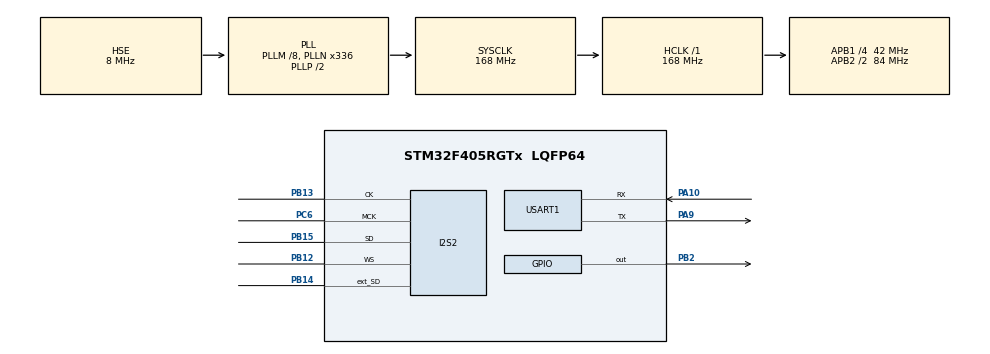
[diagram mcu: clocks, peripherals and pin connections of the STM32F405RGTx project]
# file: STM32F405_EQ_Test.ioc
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Dma.I2S2_EXT_RX.0.Direction=DMA_PERIPH_TO_MEMORY
Dma.I2S2_EXT_RX.0.FIFOMode=DMA_FIFOMODE_DISABLE
Dma.I2S2_EXT_RX.0.Instance=DMA1_Stream3
Dma.I2S2_EXT_RX.0.MemDataAlignment=DMA_MDATAALIGN_HALFWORD
Dma.I2S2_EXT_RX.0.MemInc=DMA_MINC_ENABLE
Dma.I2S2_EXT_RX.0.Mode=DMA_CIRCULAR
Dma.I2S2_EXT_RX.0.PeriphDataAlignment=DMA_PDATAALIGN_HALFWORD
Dma.I2S2_EXT_RX.0.PeriphInc=DMA_PINC_DISABLE
Dma.I2S2_EXT_RX.0.Priority=DMA_PRIORITY_HIGH
Dma.Request0=I2S2_EXT_RX
Dma.Request1=SPI2_TX
Dma.SPI2_TX.1.Direction=DMA_MEMORY_TO_PERIPH
Dma.SPI2_TX.1.FIFOMode=DMA_FIFOMODE_DISABLE
Dma.SPI2_TX.1.Instance=DMA1_Stream4
Dma.SPI2_TX.1.MemDataAlignment=DMA_MDATAALIGN_HALFWORD
Dma.SPI2_TX.1.MemInc=DMA_MINC_ENABLE
Dma.SPI2_TX.1.Mode=DMA_CIRCULAR
Dma.SPI2_TX.1.PeriphDataAlignment=DMA_PDATAALIGN_HALFWORD
Dma.SPI2_TX.1.PeriphInc=DMA_PINC_DISABLE
Dma.SPI2_TX.1.Priority=DMA_PRIORITY_HIGH
I2S2.AudioFreq=I2S_AUDIOFREQ_96K
I2S2.DataFormat=I2S_DATAFORMAT_24B
I2S2.ErrorAudioFreq=-2.34 %
I2S2.FullDuplexMode=I2S_FULLDUPLEXMODE_ENABLE
I2S2.Instance=SPI$Index
I2S2.RealAudioFreq=93.75 KHz
I2S2.VirtualMode=I2S_MODE_MASTER
Mcu.Family=STM32F4
Mcu.Name=STM32F405RGTx
Mcu.Package=LQFP64
NVIC.DMA1_Stream3_IRQn=true\:0\:0\:false\:false\:true\:false\:true\:true
NVIC.DMA1_Stream4_IRQn=true\:0\:0\:false\:false\:true\:false\:true\:true
NVIC.PriorityGroup=NVIC_PRIORITYGROUP_4
NVIC.USART1_IRQn=true\:0\:0\:false\:false\:true\:true\:true\:true
PA10.Mode=Asynchronous
PA10.Signal=USART1_RX
PA13.Mode=Serial_Wire
PA13.Signal=SYS_JTMS-SWDIO
PA14.Mode=Serial_Wire
PA14.Signal=SYS_JTCK-SWCLK
PA9.Mode=Asynchronous
PA9.Signal=USART1_TX
PB12.Mode=Full_Duplex_Master
PB12.Signal=I2S2_WS
PB13.Mode=Full_Duplex_Master
PB13.Signal=I2S2_CK
PB14.Mode=Full_Duplex_Master
PB14.Signal=I2S2_ext_SD
PB15.Mode=Full_Duplex_Master
PB15.Signal=I2S2_SD
PB2.Signal=GPIO_Output
PC6.Mode=Master_Clock_Activated
PC6.Signal=I2S2_MCK
PH0-OSC_IN.Mode=HSE-External-Oscillator
PH0-OSC_IN.Signal=RCC_OSC_IN
PH1-OSC_OUT.Mode=HSE-External-Oscillator
PH1-OSC_OUT.Signal=RCC_OSC_OUT
ProjectManager.HeapSize=0x200
ProjectManager.StackSize=0x400
ProjectManager.TargetToolchain=STM32CubeIDE
RCC.48MHZClocksFreq_Value=84000000
RCC.AHBFreq_Value=168000000
RCC.APB1CLKDivider=RCC_HCLK_DIV4
RCC.APB1Freq_Value=42000000
RCC.APB1TimFreq_Value=84000000
RCC.APB2CLKDivider=RCC_HCLK_DIV2
RCC.APB2Freq_Value=84000000
RCC.APB2TimFreq_Value=168000000
RCC.CortexFreq_Value=168000000
RCC.HCLKFreq_Value=168000000
RCC.HSE_VALUE=8000000
RCC.HSI_VALUE=16000000
RCC.LSE_VALUE=32768
RCC.PLLM=8
RCC.PLLN=336
RCC.PLLSourceVirtual=RCC_PLLSOURCE_HSE
RCC.SYSCLKFreq_VALUE=168000000
RCC.SYSCLKSource=RCC_SYSCLKSOURCE_PLLCLK
RCC.VCOOutputFreq_Value=336000000
USART1.VirtualMode=VM_ASYNC
board=custom

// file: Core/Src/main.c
/* USER CODE BEGIN Header */
/**
  ******************************************************************************
  * @file           : main.c
  * @brief          : Main program body
  ******************************************************************************
  * @attention
  *
  * Copyright (c) 2024 STMicroelectronics.
  * All rights reserved.
  *
  * This software is licensed under terms that can be found in the LICENSE file
  * in the root directory of this software component.
  * If no LICENSE file comes with this software, it is provided AS-IS.
  *
  ******************************************************************************
  */
/* USER CODE END Header */
#include "main.h"

/* USER CODE BEGIN Includes */
#include <stdint.h>
#include "peaking_filter.h"

/* USER CODE END Includes */

I2S_HandleTypeDef hi2s2;
DMA_HandleTypeDef hdma_i2s2_ext_rx;
DMA_HandleTypeDef hdma_spi2_tx;

UART_HandleTypeDef huart1;

/* USER CODE BEGIN PV */
#define BUFFER_SIZE 8
uint16_t rxBuf[BUFFER_SIZE];
uint16_t txBuf[BUFFER_SIZE];
// int isDataReady = 0;
static volatile uint16_t *inProcessBuff;
static volatile uint16_t *outProcessBuff;

uint8_t tx_buffer[30] = "Hello World\n";
/* USER CODE END PV */

void SystemClock_Config(void);
static void MX_GPIO_Init(void);
static void MX_DMA_Init(void);
static void MX_I2S2_Init(void);
static void MX_USART1_UART_Init(void);
/* USER CODE BEGIN PFP */
// float l_a0, l_a1, l_a2, l_b1, l_b2, lin_z1, lin_z2, lout_z1, lout_z2;
// float r_a0, r_a1, r_a2, r_b1, r_b2, rin_z1, rin_z2, rout_z1, rout_z2;
// void processSignal();
// Define the FilterCoeffs struct to hold filter coefficients
// typedef struct {
//   float a0;
//   float a1;
//   float a2;
//   float b1;
//   float b2;
// } FilterCoeffs;

// Define filt
peaking_filter_data filt;
peaking_filter_data lowFilt;
peaking_filter_data midLowFilt;
peaking_filter_data midFilt;
peaking_filter_data midHighFilt;
peaking_filter_data highFilt;

// Define filter band selection constants (assuming integer values)
// #define LOW_SHELF_BAND 1
// #define LOW_MID_BAND 2
// #define MID_BAND 3
// #define HIGH_MID_BAND 4
// #define HIGH_SHELF_BAND 5

/* Filter Coefficients (replace with actual values) */
// const FilterCoeffs lowShelfCoeffs = {1.0f, -1.995372f, 0.995383f, -1.995372f, 0.995383f};
// const FilterCoeffs lowMidCoeffs = {0.009171f, 0.0f, -0.009171f, -1.981488f, 0.981658f};
// const FilterCoeffs midBandCoeffs = {0.0648168f, 0.0f, -0.0648168f, -1.861360f, 0.870366f};
// const FilterCoeffs highMidCoeffs = {0.1212275f, 0.0f, -0.1212275f, -1.723774f, 0.757545f};
// const FilterCoeffs highShelfCoeffs = {1.0f, -1.109229f, 0.398152f, -1.109229f, 0.398152f};

// Left channel filter state variables
float lin_z1;
float lin_z2;
float lout_z1;
float lout_z2;

// Right channel filter state variables
float rin_z1;
float rin_z2;
float rout_z1;
float rout_z2;

// Center frequency
float LOW_FREQ = 50.0f;
float MID_LOW_FREQ = 200.0f;
float MID_FREQ = 1500.0f;
float MID_HIGH_FREQ = 3000.0f;
float HIGH_FREQ = 10000.0f;

// Placeholder for gain values from MATLAB GUI (replace with actual implementation)
float gainLowShelf = 1.0f;
float gainLowMid = 1.0f;
float gainMid = 1.0f;
float gainHighMid = 1.0f;
float gainHighShelf = 1.0f;

// Q width
float Q = 0.7071f;

/* USER CODE END PFP */

int main(void)
{

  /* MCU Configuration--------------------------------------------------------*/

  /* Reset of all peripherals, Initializes the Flash interface and the Systick. */
  HAL_Init();

  /* Configure the system clock */
  SystemClock_Config();

  /* Initialize all configured peripherals */
  MX_GPIO_Init();
  MX_DMA_Init();
  MX_I2S2_Init();
  MX_USART1_UART_Init();
  /* USER CODE BEGIN 2 */
  peaking_filter_init(&lowFilt);
  peaking_filter_init(&midLowFilt);
  peaking_filter_init(&midFilt);
  peaking_filter_init(&midHighFilt);
  peaking_filter_init(&highFilt);

  peaking_filter_set_params(&lowFilt, gainLowShelf, LOW_FREQ, Q);
  peaking_filter_set_params(&midLowFilt, gainLowMid, MID_LOW_FREQ, Q);
  peaking_filter_set_params(&midFilt, gainMid, MID_FREQ, Q);
  peaking_filter_set_params(&midHighFilt, gainHighMid, MID_HIGH_FREQ, Q);
  peaking_filter_set_params(&highFilt, gainHighShelf, HIGH_FREQ, Q);

  HAL_I2SEx_TransmitReceive_DMA (&hi2s2, txBuf, rxBuf, 4);

  // Low, Fc=50Hz, Fs=96kHz, q=0.7071
  // l_a0 = 0.0000026711181320911584f;
  // l_a1 = 0.000005342236264182317f;
  // l_a2 = 0.0000026711181320911584f;
  // l_b1 = -1.9953719609930045f;
  // l_b2 = 0.9953826454655329f;

  // Low-mid, Fc=200Hz, Fs=96kHz, q=0.7071
  // How tf !?

  //left-channel, High-Pass, 1kHz, fs=96kHz, q=0.7
  // l_a0 = 0.9543457485325094f;
  // l_a1 = -1.9086914970650188f;
  // l_a2 = 0.9543457485325094f;
  // l_b1 = -1.9066459797557103f;
  // l_b2 = 0.9107370143743273f;

  //right-channel, Low-Pass, 1kHz, fs)96 kHz, q=0.7
  // r_a0 = 0.0010227586546542474f;
  // r_a1 = 0.002045517309308495f;
  // r_a2 = 0.0010227586546542474f;
  // r_b1 = -1.9066459797557103f;
  // r_b2 = 0.9107370143743273f;

  HAL_UART_Transmit(&huart1, tx_buffer, sizeof(tx_buffer), 1000);
  /* USER CODE END 2 */

  /* Infinite loop */
  while (1)
  {

    /* USER CODE BEGIN 3 */
    HAL_UART_Transmit(&huart1, tx_buffer, sizeof(tx_buffer), 1000);
    HAL_GPIO_TogglePin(GPIOB, GPIO_PIN_2);
    HAL_Delay(1000);
	  // if (isDataReady){
      // HAL_GPIO_WritePin(GPIOB, GPIO_PIN_2, 1);
//      isDataReady = 0;
	  	// }
	  // else {
		  // HAL_GPIO_WritePin(GPIOB, GPIO_PIN_2, 0);
	// }

  }
  /* USER CODE END 3 */
}

void SystemClock_Config(void)
{
  RCC_OscInitTypeDef RCC_OscInitStruct = {0};
  RCC_ClkInitTypeDef RCC_ClkInitStruct = {0};

  /** Configure the main internal regulator output voltage
  */
  __HAL_RCC_PWR_CLK_ENABLE();
  __HAL_PWR_VOLTAGESCALING_CONFIG(PWR_REGULATOR_VOLTAGE_SCALE1);

  /** Initializes the RCC Oscillators according to the specified parameters
  * in the RCC_OscInitTypeDef structure.
  */
  RCC_OscInitStruct.OscillatorType = RCC_OSCILLATORTYPE_HSE;
  RCC_OscInitStruct.HSEState = RCC_HSE_ON;
  RCC_OscInitStruct.PLL.PLLState = RCC_PLL_ON;
  RCC_OscInitStruct.PLL.PLLSource = RCC_PLLSOURCE_HSE;
  RCC_OscInitStruct.PLL.PLLM = 8;
  RCC_OscInitStruct.PLL.PLLN = 336;
  RCC_OscInitStruct.PLL.PLLP = RCC_PLLP_DIV2;
  RCC_OscInitStruct.PLL.PLLQ = 4;
  if (HAL_RCC_OscConfig(&RCC_OscInitStruct) != HAL_OK)
  {
    Error_Handler();
  }

  /** Initializes the CPU, AHB and APB buses clocks
  */
  RCC_ClkInitStruct.ClockType = RCC_CLOCKTYPE_HCLK|RCC_CLOCKTYPE_SYSCLK
                              |RCC_CLOCKTYPE_PCLK1|RCC_CLOCKTYPE_PCLK2;
  RCC_ClkInitStruct.SYSCLKSource = RCC_SYSCLKSOURCE_PLLCLK;
  RCC_ClkInitStruct.AHBCLKDivider = RCC_SYSCLK_DIV1;
  RCC_ClkInitStruct.APB1CLKDivider = RCC_HCLK_DIV4;
  RCC_ClkInitStruct.APB2CLKDivider = RCC_HCLK_DIV2;

  if (HAL_RCC_ClockConfig(&RCC_ClkInitStruct, FLASH_LATENCY_5) != HAL_OK)
  {
    Error_Handler();
  }
}

static void MX_I2S2_Init(void)
{

  hi2s2.Instance = SPI2;
  hi2s2.Init.Mode = I2S_MODE_MASTER_TX;
  hi2s2.Init.Standard = I2S_STANDARD_PHILIPS;
  hi2s2.Init.DataFormat = I2S_DATAFORMAT_24B;
  hi2s2.Init.MCLKOutput = I2S_MCLKOUTPUT_ENABLE;
  hi2s2.Init.AudioFreq = I2S_AUDIOFREQ_96K;
  hi2s2.Init.CPOL = I2S_CPOL_LOW;
  hi2s2.Init.ClockSource = I2S_CLOCK_PLL;
  hi2s2.Init.FullDuplexMode = I2S_FULLDUPLEXMODE_ENABLE;
  if (HAL_I2S_Init(&hi2s2) != HAL_OK)
  {
    Error_Handler();
  }

}

static void MX_USART1_UART_Init(void)
{

  huart1.Instance = USART1;
  huart1.Init.BaudRate = 115200;
  huart1.Init.WordLength = UART_WORDLENGTH_8B;
  huart1.Init.StopBits = UART_STOPBITS_1;
  huart1.Init.Parity = UART_PARITY_NONE;
  huart1.Init.Mode = UART_MODE_TX_RX;
  huart1.Init.HwFlowCtl = UART_HWCONTROL_NONE;
  huart1.Init.OverSampling = UART_OVERSAMPLING_16;
  if (HAL_UART_Init(&huart1) != HAL_OK)
  {
    Error_Handler();
  }

}

static void MX_DMA_Init(void)
{

  /* DMA controller clock enable */
  __HAL_RCC_DMA1_CLK_ENABLE();

  /* DMA interrupt init */
  /* DMA1_Stream3_IRQn interrupt configuration */
  HAL_NVIC_SetPriority(DMA1_Stream3_IRQn, 0, 0);
  HAL_NVIC_EnableIRQ(DMA1_Stream3_IRQn);
  /* DMA1_Stream4_IRQn interrupt configuration */
  HAL_NVIC_SetPriority(DMA1_Stream4_IRQn, 0, 0);
  HAL_NVIC_EnableIRQ(DMA1_Stream4_IRQn);

}

static void MX_GPIO_Init(void)
{
  GPIO_InitTypeDef GPIO_InitStruct = {0};

  /* GPIO Ports Clock Enable */
  __HAL_RCC_GPIOH_CLK_ENABLE();
  __HAL_RCC_GPIOB_CLK_ENABLE();
  __HAL_RCC_GPIOC_CLK_ENABLE();
  __HAL_RCC_GPIOA_CLK_ENABLE();

  /*Configure GPIO pin Output Level */
  HAL_GPIO_WritePin(GPIOB, GPIO_PIN_2, GPIO_PIN_RESET);

  /*Configure GPIO pin : PB2 */
  GPIO_InitStruct.Pin = GPIO_PIN_2;
  GPIO_InitStruct.Mode = GPIO_MODE_OUTPUT_PP;
  GPIO_InitStruct.Pull = GPIO_NOPULL;
  GPIO_InitStruct.Speed = GPIO_SPEED_FREQ_LOW;
  HAL_GPIO_Init(GPIOB, &GPIO_InitStruct);

}

/* USER CODE BEGIN 4 */

// Function for left channel filtering (replace with your actual implementation)
// int Calc_IIR_Left(int inSample, const FilterCoeffs *coeffs) {
//   float inSampleF = (float)inSample;
//   float outSampleF =
//       coeffs->a0 * inSampleF
//       + coeffs->a1 * lin_z1
//       + coeffs->a2 * lin_z2
//       - coeffs->b1 * lout_z1
//       - coeffs->b2 * lout_z2;
//   lin_z2 = lin_z1;
//   lin_z1 = inSampleF;
//   lout_z2 = lout_z1;
//   lout_z1 = outSampleF;

//   return (int) outSampleF;
// }

// Function for right channel filtering (replace with your actual implementation)
// int Calc_IIR_Right(int inSample, const FilterCoeffs *coeffs) {
//   float inSampleF = (float)inSample;
//   float outSampleF =
//       coeffs->a0 * inSampleF
//       + coeffs->a1 * rin_z1
//       + coeffs->a2 * rin_z2
//       - coeffs->b1 * rout_z1
//       - coeffs->b2 * rout_z2;
//   rin_z2 = rin_z1;
//   rin_z1 = inSampleF;
//   rout_z2 = rout_z1;
//   rout_z1 = outSampleF;

//   return (int) outSampleF;
// }

// void processSignal(){
//   int iteration = BUFFER_SIZE/2;
// 	static float leftIn;
// 	static float leftOut;
// 	static float rightIn;
// 	static float rightOut;

// 	for (int i = 0; i < iteration; i += 2){
// 		leftIn = inProcessBuff[i] / 32768.0f;
// 		rightIn = inProcessBuff[i] / 32768.0f;
// 		leftOut = peaking_filter_update(&lowFilt, leftIn);
//     leftOut = peaking_filter_update(&midLowFilt, leftOut);
// 		leftOut = peaking_filter_update(&midFilt, leftOut);
//     leftOut = peaking_filter_update(&midHighFilt, leftOut);
// 		leftOut = peaking_filter_update(&highFilt, leftOut);
//     rightOut = leftOut;

//     outProcessBuff[i] = (int16_t)(leftOut * 32768.0f);
// 		outProcessBuff[i+1] = (int16_t)(rightOut * 32768.0f);
//   }
// }

// void HAL_I2SEx_TxRxHalfCpltCallback(I2S_HandleTypeDef *hi2s){
    // Restore signed 24-bit sample from 16-bit buffers
    // int rSample = (int) (rxBuf[0]<<16) | rxBuf[1];
    // int lSample = (int) (rxBuf[2]<<16) | rxBuf[3];

    // test peaking filter
    // lSample = peaking_filter_update(&filt, lSample);
    // rSample = peaking_filter_update(&filt, rSample);

    // multiply by 2 (leftshift) -> +3dB per sample (don't use, it will make a *click* noise)
    // lSample = lSample<<1;
    // rSample = rSample<<1;

    // Run filtering for each band on the left and right channels
    // int filteredOutputs[10];

    // filteredOutputs[0] = Calc_IIR_Left(lSample, &lowShelfCoeffs) * gainLowShelf;
    // filteredOutputs[1] = Calc_IIR_Right(rSample, &lowShelfCoeffs) * gainLowShelf;
    // filteredOutputs[2] = Calc_IIR_Left(lSample, &lowMidCoeffs) * gainLowMid;
    // filteredOutputs[3] = Calc_IIR_Right(rSample, &lowMidCoeffs) * gainLowMid;
    // filteredOutputs[4] = Calc_IIR_Left(lSample, &midBandCoeffs) * gainMid;
    // filteredOutputs[5] = Calc_IIR_Right(rSample, &midBandCoeffs) * gainMid;
    // filteredOutputs[6] = Calc_IIR_Left(lSample, &highMidCoeffs) * gainHighMid;
    // filteredOutputs[7] = Calc_IIR_Right(rSample, &highMidCoeffs) * gainHighMid;
    // filteredOutputs[8] = Calc_IIR_Left(lSample, &highShelfCoeffs) * gainHighShelf;
    // filteredOutputs[9] = Calc_IIR_Right(rSample, &highShelfCoeffs) * gainHighShelf;

    // Restore to buffer
    // for (int i = 0; i < 10; ++i) {
    //     txBuf[i * 2] = (int)(filteredOutputs[i] >> 16) & 0xFFFF;
    //     txBuf[i * 2 + 1] = (int)filteredOutputs[i] & 0xFFFF;
    // }

    //restore to buffer
//     txBuf[0] = (lSample>>16)&0xFFFF;
//     txBuf[1] = lSample&0xFFFF;
//     txBuf[2] = (rSample>>16)&0xFFFF;
//     txBuf[3] = rSample&0xFFFF;
// }

// void HAL_I2SEx_TxRxCpltCallback(I2S_HandleTypeDef *hi2s){
    // Restore signed 24-bit sample from 16-bit buffers
    // int rSample = (int) (rxBuf[4]<<16) | rxBuf[5];
    // int lSample = (int) (rxBuf[6]<<16) | rxBuf[7];

    // test peaking filter
    // lSample = peaking_filter_update(&filt, lSample);
    // rSample = peaking_filter_update(&filt, rSample);

    // multiply by 2 (leftshift) -> +3dB per sample (don't use, it will make a *click* noise)
    // lSample = lSample<<1;
    // rSample = rSample<<1;

    // Run filtering for each band on the left and right channels
    // int filteredOutputs[10];

    // filteredOutputs[0] = Calc_IIR_Left(lSample, &lowShelfCoeffs) * gainLowShelf;
    // filteredOutputs[1] = Calc_IIR_Right(rSample, &lowShelfCoeffs) * gainLowShelf;
    // filteredOutputs[2] = Calc_IIR_Left(lSample, &lowMidCoeffs) * gainLowMid;
    // filteredOutputs[3] = Calc_IIR_Right(rSample, &lowMidCoeffs) * gainLowMid;
    // filteredOutputs[4] = Calc_IIR_Left(lSample, &midBandCoeffs) * gainMid;
    // filteredOutputs[5] = Calc_IIR_Right(rSample, &midBandCoeffs) * gainMid;
    // filteredOutputs[6] = Calc_IIR_Left(lSample, &highMidCoeffs) * gainHighMid;
    // filteredOutputs[7] = Calc_IIR_Right(rSample, &highMidCoeffs) * gainHighMid;
    // filteredOutputs[8] = Calc_IIR_Left(lSample, &highShelfCoeffs) * gainHighShelf;
    // filteredOutputs[9] = Calc_IIR_Right(rSample, &highShelfCoeffs) * gainHighShelf;

    // Restore to buffer
    // for (int i = 0; i < 10; ++i) {
    //     txBuf[i * 2 + 4] = (int)(filteredOutputs[i] >> 16) & 0xFFFF;
    //     txBuf[i * 2 + 5] = (int)filteredOutputs[i] & 0xFFFF;
    // }

    //restore to buffer
//     txBuf[4] = (lSample>>16)&0xFFFF;
//     txBuf[5] = lSample&0xFFFF;
//     txBuf[6] = (rSample>>16)&0xFFFF;
//     txBuf[7] = rSample&0xFFFF;
// }

void HAL_I2SEx_TxRxHalfCpltCallback(I2S_HandleTypeDef *hi2s) {
    // Restore signed 24-bit samples from 16-bit buffers
    for (int i = 0; i < BUFFER_SIZE / 2; i++) {
        int rSample = (int)(rxBuf[i * 4] << 16) | rxBuf[i * 4 + 1];
        int lSample = (int)(rxBuf[i * 4 + 2] << 16) | rxBuf[i * 4 + 3];

        // Run filtering for each band on the left and right channels
        lSample = peaking_filter_update(&lowFilt, lSample);
        lSample = peaking_filter_update(&midLowFilt, lSample);
        lSample = peaking_filter_update(&midFilt, lSample);
        lSample = peaking_filter_update(&midHighFilt, lSample);
        lSample = peaking_filter_update(&highFilt, lSample);

        txBuf[i * 4] = (lSample >> 16) & 0xFFFF;
        txBuf[i * 4 + 1] = lSample & 0xFFFF;
        txBuf[i * 4 + 2] = (rSample >> 16) & 0xFFFF;
        txBuf[i * 4 + 3] = rSample & 0xFFFF;
    }
}

void HAL_I2SEx_TxRxCpltCallback(I2S_HandleTypeDef *hi2s) {
    // Restore signed 24-bit samples from 16-bit buffers
    for (int i = BUFFER_SIZE / 2; i < BUFFER_SIZE; i++) {
        int rSample = (int)(rxBuf[i * 4] << 16) | rxBuf[i * 4 + 1];
        int lSample = (int)(rxBuf[i * 4 + 2] << 16) | rxBuf[i * 4 + 3];

        // Run filtering for each band on the left and right channels
        lSample = peaking_filter_update(&lowFilt, lSample);
        lSample = peaking_filter_update(&midLowFilt, lSample);
        lSample = peaking_filter_update(&midFilt, lSample);
        lSample = peaking_filter_update(&midHighFilt, lSample);
        lSample = peaking_filter_update(&highFilt, lSample);

        txBuf[i * 4] = (lSample >> 16) & 0xFFFF;
        txBuf[i * 4 + 1] = lSample & 0xFFFF;
        txBuf[i * 4 + 2] = (rSample >> 16) & 0xFFFF;
        txBuf[i * 4 + 3] = rSample & 0xFFFF;
    }
}

/* USER CODE END 4 */

void Error_Handler(void)
{
  __disable_irq();
  while (1)
  {
  }
}
